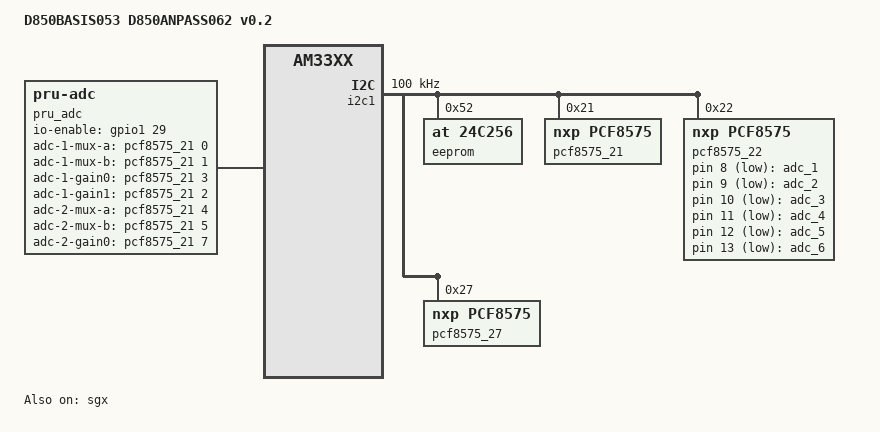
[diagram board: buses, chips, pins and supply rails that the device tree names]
/*
 * Copyright (C) 2012 Texas Instruments Incorporated - http://www.ti.com/
 *
 * This program is free software; you can redistribute it and/or modify
 * it under the terms of the GNU General Public License version 2 as
 * published by the Free Software Foundation.
 */
/dts-v1/;

#include <dt-bindings/board/am335x-bbw-bbb-base.h>
#include <dt-bindings/interrupt-controller/irq.h>
#include "am335x-d850basis053.dtsi"

&sgx {
	status = "okay";
};

/ {

	model = "D850BASIS053 D850ANPASS062 v0.2";
	compatible = "ti,am335x-bone-black", "ti,am335x-bone", "ti,am33xx";

	pru_adc {
		status = "okay";
		compatible = "pru-adc";
		pinctrl-names = "default";
		pinctrl-0 = <&pru_adc_pins>;
		ti,rproc = <&pru1>;

		/* BONE_P8_26 gpio1_29 enable = Port Low  && SYS_RESET -> IO_EN*/
		pru,io-enable-gpios = <&gpio1 29 GPIO_ACTIVE_HIGH>;

		pru,adc-1-mux-a-gpios = <&pcf8575_21 0 GPIO_ACTIVE_HIGH>;
		pru,adc-1-mux-b-gpios = <&pcf8575_21 1 GPIO_ACTIVE_HIGH>;
		pru,adc-1-gain0-gpios = <&pcf8575_21 3 GPIO_ACTIVE_HIGH>;
		pru,adc-1-gain1-gpios = <&pcf8575_21 2 GPIO_ACTIVE_HIGH>;

		pru,adc-2-mux-a-gpios = <&pcf8575_21 4 GPIO_ACTIVE_HIGH>;
		pru,adc-2-mux-b-gpios = <&pcf8575_21 5 GPIO_ACTIVE_HIGH>;
		pru,adc-2-gain0-gpios = <&pcf8575_21 7 GPIO_ACTIVE_HIGH>;
		pru,adc-2-gain1-gpios =	<&pcf8575_21 6 GPIO_ACTIVE_HIGH>;

		pru,adc-3-mux-a-gpios = <&pcf8575_21 8 GPIO_ACTIVE_HIGH>;
		pru,adc-3-mux-b-gpios = <&pcf8575_21 9 GPIO_ACTIVE_HIGH>;
		pru,adc-3-gain0-gpios = <&pcf8575_21 11 GPIO_ACTIVE_HIGH>;
		pru,adc-3-gain1-gpios = <&pcf8575_21 10 GPIO_ACTIVE_HIGH>;

		pru,adc-4-mux-a-gpios = <&pcf8575_21 12 GPIO_ACTIVE_HIGH>;
		pru,adc-4-mux-b-gpios = <&pcf8575_21 13 GPIO_ACTIVE_HIGH>;
		pru,adc-4-gain0-gpios = <&pcf8575_21 15 GPIO_ACTIVE_HIGH>;
		pru,adc-4-gain1-gpios = <&pcf8575_21 14 GPIO_ACTIVE_HIGH>;

		pru,adc-5-mux-a-gpios = <&pcf8575_22 0 GPIO_ACTIVE_HIGH>;
		pru,adc-5-mux-b-gpios = <&pcf8575_22 1 GPIO_ACTIVE_HIGH>;
		pru,adc-5-gain0-gpios = <&pcf8575_22 3 GPIO_ACTIVE_HIGH>;
		pru,adc-5-gain1-gpios = <&pcf8575_22 2 GPIO_ACTIVE_HIGH>;

		pru,adc-6-mux-a-gpios = <&pcf8575_22 4 GPIO_ACTIVE_HIGH>;
		pru,adc-6-mux-b-gpios = <&pcf8575_22 5 GPIO_ACTIVE_HIGH>;
		pru,adc-6-gain0-gpios = <&pcf8575_22 7 GPIO_ACTIVE_HIGH>;
		pru,adc-6-gain1-gpios = <&pcf8575_22 6 GPIO_ACTIVE_HIGH>;
	};

	leds {
		compatible = "gpio-leds";

		adc_1 {
			label = "adc_1";
			gpios = <&pcf8575_22 8 GPIO_ACTIVE_LOW>;
			linux,default-trigger = "heartbeat ";
		};

		adc_2 {
			label = "adc_2";
			gpios = <&pcf8575_22 9 GPIO_ACTIVE_LOW>;
			linux,default-trigger = "heartbeat";
		};
		adc_3 {
			label = "adc_3";
			gpios = <&pcf8575_22 10 GPIO_ACTIVE_LOW>;
			linux,default-trigger = "heartbeat";
		};
		adc_4 {
			label = "adc_4";
			gpios = <&pcf8575_22 11 GPIO_ACTIVE_LOW>;
			linux,default-trigger = "heartbeat";
		};
		adc_5 {
			label = "adc_5";
			gpios = <&pcf8575_22 12 GPIO_ACTIVE_LOW>;
			linux,default-trigger = "heartbeat";
		};
		adc_6 {
			label = "adc_6";
			gpios = <&pcf8575_22 13 GPIO_ACTIVE_LOW>;
			linux,default-trigger = "heartbeat";
		};
	};
};

&am33xx_pinmux {
	pinctrl-names = "default";

	pru_adc_pins: pru_adc_pins {
		pinctrl-single,pins = <
			AM33XX_IOPAD(BONE_P8_20, PIN_OUTPUT | MUX_MODE5)				/* gpio1_31.pr1_pru1_pru_r30_13  PRU SCLK */
			AM33XX_IOPAD(BONE_P8_21, PIN_OUTPUT | MUX_MODE5)				/* gpio1_30.pr1_pru1_pru_r30_12  ADS DIN */
			AM33XX_IOPAD(BONE_P8_29, PIN_OUTPUT | MUX_MODE5)				/* gpio2_23.pr1_pru1_pru_r30_9 PRU CONVS */

			AM33XX_IOPAD(BONE_P8_45, PIN_INPUT | MUX_MODE6) 				/* gpio2_6.pr1_pru1_pru_r31_0 ADS DOUT_1 via IO_EN */
			AM33XX_IOPAD(BONE_P8_46, PIN_INPUT | MUX_MODE6) 				/* gpio2_7.pr1_pru1_pru_r31_1 ADS DOUT_2 via IO_EN*/
			AM33XX_IOPAD(BONE_P8_43, PIN_INPUT | MUX_MODE6)					/* gpio2_8.pr1_pru1_pru_r31_2 ADS DOUT_3 via IO_EN*/
			AM33XX_IOPAD(BONE_P8_44, PIN_INPUT | MUX_MODE6)					/* gpio2_9.pr1_pru1_pru_r31_3 ADS DOUT_4 via IO_EN */
			AM33XX_IOPAD(BONE_P8_41, PIN_INPUT | MUX_MODE6)					/* gpio2_10.pr1_pru1_pru_r31_4 ADS DOUT_5 via IO_EN */
			AM33XX_IOPAD(BONE_P8_42, PIN_INPUT | MUX_MODE6)					/* gpio2_11.pr1_pru1_pru_r31_5 ADS DOUT_6 via IO_EN */
		>;
	};
};

&i2c1 {
	status = "okay";
	pinctrl-names = "default";
	pinctrl-0 = <&i2c1_pins>;
	clock-frequency = <100000>;

	/* from here we have a ANPASSKARTE */

	eeprom@52 {
		compatible = "at,24c256";
		reg = <0x52>;
	};

	pcf8575_21: gpio@21 {
		compatible = "nxp,pcf8575";
		reg = <0x21>;
		gpio-controller;
		#gpio-cells = <2>;
		lines-initial-states = <0x0>;
		gpio-line-names = "MUX_A_1", "MUX_B_1", "MAIN_G1_1", "MAIN_G0_1",
						  "MUX_A_2", "MUX_B_2", "MAIN_G1_2", "MAIN_G0_2",
						  "MUX_A_3", "MUX_B_3", "MAIN_G1_3", "MAIN_G0_3",
						  "MUX_A_4", "MUX_B_4", "MAIN_G1_4", "MAIN_G0_4";
	};

	pcf8575_22: gpio@22 {
		compatible = "nxp,pcf8575";
		reg = <0x22>;
		gpio-controller;
		#gpio-cells = <2>;
		lines-initial-states = <0xF3F3>;
		gpio-line-names = "MUX_A_5", "MUX_B_5", "MAIN_G1_5", "MAIN_G0_5",
						  "MUX_A_6", "MUX_B_6", "MAIN_G1_6", "MAIN_G0_6",
						  "LED_1", "LED_2", "LED_3", "LED_4", "LED_5", "LED_6", "", "";
	};

	pcf8575_27: gpio@27 {
		compatible = "nxp,pcf8575";
		reg = <0x27>;
		gpio-controller;
		#gpio-cells = <2>;
		lines-initial-states = <0x0000>;
		gpio-line-names = "ADAPT_ID_0", "ADAPT_ID_1", "ADAPT_ID_2", "ADAPT_ID_3",
						  "ADAPT_VAR_0", "ADAPT_VAR_1", "ADAPT_VAR_2", "ADAPT_VAR_3",
						  "P5", "P3", "P1", "P2", "P4", "P6", "", "";
	};
};

&pru1 {
	firmware-name = "pru/d850-pru-adc-062.out";
};
